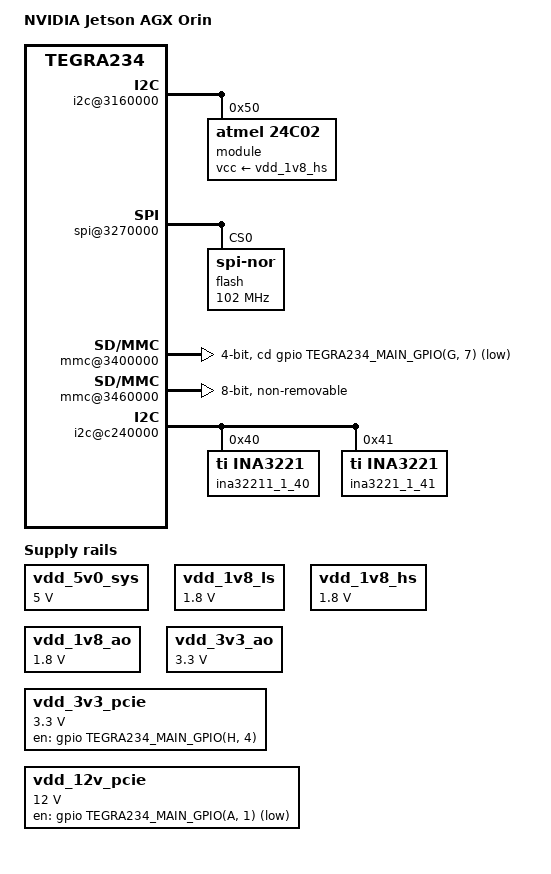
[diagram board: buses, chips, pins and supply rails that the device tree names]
// SPDX-License-Identifier: GPL-2.0

#include "tegra234.dtsi"
#include "tegra234-p3701.dtsi"

/ {
	model = "NVIDIA Jetson AGX Orin";
	compatible = "nvidia,p3701-0000", "nvidia,tegra234";

	bus@0 {
		i2c@3160000 {
			status = "okay";

			eeprom@50 {
				compatible = "atmel,24c02";
				reg = <0x50>;

				label = "module";
				vcc-supply = <&vdd_1v8_hs>;
				address-width = <8>;
				pagesize = <8>;
				size = <256>;
				read-only;
			};
		};

		spi@3270000 {
			status = "okay";

			flash@0 {
				compatible = "jedec,spi-nor";
				reg = <0>;
				spi-max-frequency = <102000000>;
				spi-tx-bus-width = <4>;
				spi-rx-bus-width = <4>;
			};
		};

		mmc@3400000 {
			status = "okay";
			bus-width = <4>;
			cd-gpios = <&gpio TEGRA234_MAIN_GPIO(G, 7) GPIO_ACTIVE_LOW>;
			disable-wp;
		};

		mmc@3460000 {
			status = "okay";
			bus-width = <8>;
			non-removable;
		};

		padctl@3520000 {
			vclamp-usb-supply = <&vdd_1v8_ao>;
			avdd-usb-supply = <&vdd_3v3_ao>;

			ports {
				usb2-0 {
					vbus-supply = <&vdd_5v0_sys>;
				};

				usb2-1 {
					vbus-supply = <&vdd_5v0_sys>;
				};

				usb2-2 {
					vbus-supply = <&vdd_5v0_sys>;
				};

				usb2-3 {
					vbus-supply = <&vdd_5v0_sys>;
				};
			};
		};

		rtc@c2a0000 {
			status = "okay";
		};

		pmc@c360000 {
			nvidia,invert-interrupt;
		};

		i2c@c240000 {
			status = "okay";

			ina32211_1_40: ina3221@40 {
				compatible = "ti,ina3221";
				reg = <0x40>;
				#address-cells = <1>;
				#size-cells = <0>;
				#io-channel-cells = <1>;
				channel@0 {
					reg = <0x0>;
					label = "VDD_GPU_SOC";
					shunt-resistor-micro-ohms = <2000>;
				};
				channel@1 {
					reg = <0x1>;
					label = "VDD_CPU_CV";
					shunt-resistor-micro-ohms = <2000>;
				};
				channel@2 {
					reg = <0x2>;
					label = "VIN_SYS_5V0";
					shunt-resistor-micro-ohms = <2000>;
				};
			};

			ina3221_1_41: ina3221@41 {
				compatible = "ti,ina3221";
				reg = <0x41>;
				#address-cells = <1>;
				#size-cells = <0>;
				#io-channel-cells = <1>;
				channel@0 {
					reg = <0x0>;
					label = "NC";
				};
				channel@1 {
					reg = <0x1>;
					label = "VDDQ_VDD2_1V8AO";
					shunt-resistor-micro-ohms = <2000>;
				};
				channel@2 {
					reg = <0x2>;
					label = "NC";
				};
			};
		};
	};

	vdd_5v0_sys: regulator-vdd-5v0-sys {
		compatible = "regulator-fixed";
		regulator-name = "VIN_SYS_5V0";
		regulator-min-microvolt = <5000000>;
		regulator-max-microvolt = <5000000>;
		regulator-always-on;
		regulator-boot-on;
	};

	vdd_1v8_ls: regulator-vdd-1v8-ls {
		compatible = "regulator-fixed";
		regulator-name = "VDD_1V8_LS";
		regulator-min-microvolt = <1800000>;
		regulator-max-microvolt = <1800000>;
		regulator-always-on;
	};

	vdd_1v8_hs: regulator-vdd-1v8-hs {
		compatible = "regulator-fixed";
		regulator-name = "VDD_1V8_HS";
		regulator-min-microvolt = <1800000>;
		regulator-max-microvolt = <1800000>;
		regulator-always-on;
	};

	vdd_1v8_ao: regulator-vdd-1v8-ao {
		compatible = "regulator-fixed";
		regulator-name = "VDD_1V8_AO";
		regulator-min-microvolt = <1800000>;
		regulator-max-microvolt = <1800000>;
		regulator-always-on;
	};

	vdd_3v3_ao: regulator-vdd-3v3-ao {
		compatible = "regulator-fixed";
		regulator-name = "VDD_3V3_AO";
		regulator-min-microvolt = <3300000>;
		regulator-max-microvolt = <3300000>;
		regulator-always-on;
	};

	vdd_3v3_pcie: regulator-vdd-3v3-pcie {
		compatible = "regulator-fixed";
		regulator-name = "VDD_3V3_PCIE";
		regulator-min-microvolt = <3300000>;
		regulator-max-microvolt = <3300000>;
		gpio = <&gpio TEGRA234_MAIN_GPIO(H, 4) GPIO_ACTIVE_HIGH>;
		regulator-boot-on;
		enable-active-high;
	};

	vdd_12v_pcie: regulator-vdd-12v-pcie {
		compatible = "regulator-fixed";
		regulator-name = "VDD_12V_PCIE";
		regulator-min-microvolt = <12000000>;
		regulator-max-microvolt = <12000000>;
		gpio = <&gpio TEGRA234_MAIN_GPIO(A, 1) GPIO_ACTIVE_LOW>;
		regulator-boot-on;
	};

	thermal-zones {
		tj-thermal {
			polling-delay = <1000>;
			polling-delay-passive = <1000>;
			status = "okay";

			trips {
				tj_trip_active0: active-0 {
					temperature = <75000>;
					hysteresis = <4000>;
					type = "active";
				};

				tj_trip_active1: active-1 {
					temperature = <95000>;
					hysteresis = <4000>;
					type = "active";
				};
			};
		};
	};

	bpmp {
		thermal {
			status = "okay";
		};
	};

	thermal-zones {
		cpu-thermal {
			status = "okay";
		};

		gpu-thermal {
			status = "okay";
		};

		cv0-thermal {
			status = "okay";
		};

		cv1-thermal {
			status = "okay";
		};

		cv2-thermal {
			status = "okay";
		};

		soc0-thermal {
			status = "okay";
		};

		soc1-thermal {
			status = "okay";
		};

		soc2-thermal {
			status = "okay";
		};

		tj-thermal {
			status = "okay";
		};
	};
};
